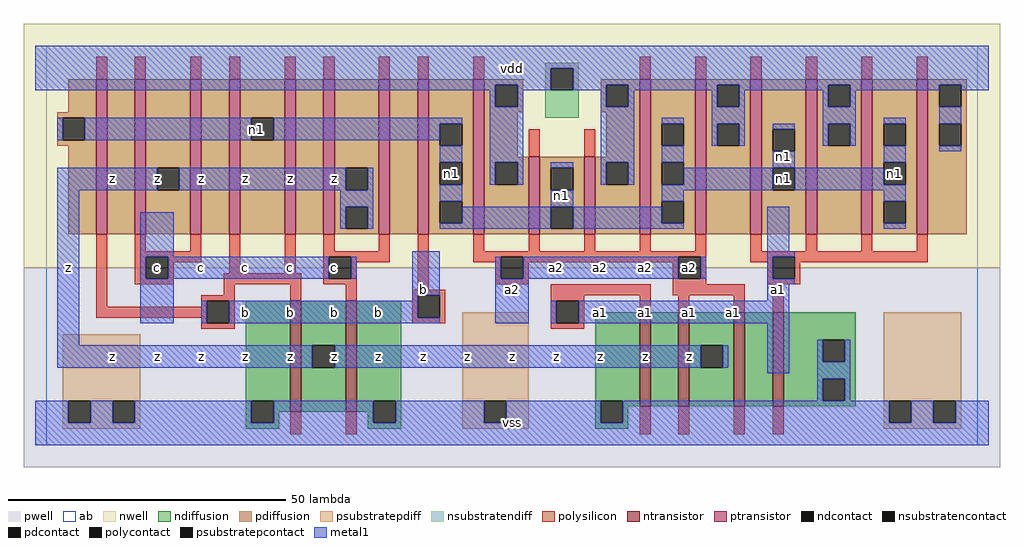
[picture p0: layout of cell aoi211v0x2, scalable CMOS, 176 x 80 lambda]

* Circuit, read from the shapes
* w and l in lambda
.subckt aoi211v0x2 a1 a2 b c n1 vdd vss z
M1 z b vss vss nfet w=20 l=2
M2 vss c z vss nfet w=20 l=2
M3 n2 a1 vss vss nfet w=17 l=2
M4 z a2 n2 vss nfet w=17 l=2
M5 n3 a2 z vss nfet w=17 l=2
M6 vss a1 n3 vss nfet w=17 l=2
M7 n4 b n1 vdd pfet w=28 l=2
M8 z c n4 vdd pfet w=28 l=2
M9 n5 c z vdd pfet w=28 l=2
M10 n1 b n5 vdd pfet w=28 l=2
M11 n6 b n1 vdd pfet w=28 l=2
M12 z c n6 vdd pfet w=28 l=2
M13 n7 c z vdd pfet w=28 l=2
M14 n1 b n7 vdd pfet w=28 l=2
M15 vdd a2 n1 vdd pfet w=28 l=2 m=3
M16 n1 a2 vdd vdd pfet w=14 l=2 m=2
M17 n1 a1 vdd vdd pfet w=28 l=2 m=4
.ends

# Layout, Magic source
magic
tech scmos
<< ab >>
rect 0 0 168 72
<< pwell >>
rect -4 -4 172 32
<< nwell >>
rect -4 32 172 76
<< polysilicon >>
rect 9 66 11 70
rect 16 66 18 70
rect 26 66 28 70
rect 33 66 35 70
rect 43 66 45 70
rect 50 66 52 70
rect 60 66 62 70
rect 67 66 69 70
rect 77 66 79 70
rect 107 66 109 70
rect 117 66 119 70
rect 127 66 129 70
rect 137 66 139 70
rect 147 66 149 70
rect 157 66 159 70
rect 87 52 89 57
rect 97 52 99 57
rect 9 25 11 38
rect 16 35 18 38
rect 26 35 28 38
rect 16 34 28 35
rect 16 30 18 34
rect 22 33 28 34
rect 22 30 23 33
rect 33 31 35 38
rect 43 31 45 38
rect 50 35 52 38
rect 60 35 62 38
rect 50 34 62 35
rect 16 29 23 30
rect 32 29 46 31
rect 50 30 51 34
rect 55 33 62 34
rect 55 30 56 33
rect 50 29 56 30
rect 32 27 34 29
rect 28 26 34 27
rect 44 26 46 29
rect 54 26 56 29
rect 67 28 69 38
rect 77 35 79 38
rect 87 35 89 38
rect 97 35 99 38
rect 107 35 109 38
rect 117 35 119 38
rect 77 34 119 35
rect 77 33 82 34
rect 81 30 82 33
rect 86 33 114 34
rect 86 30 87 33
rect 81 29 87 30
rect 113 30 114 33
rect 118 30 119 34
rect 127 35 129 38
rect 137 35 139 38
rect 147 35 149 38
rect 157 35 159 38
rect 127 34 159 35
rect 127 33 131 34
rect 113 29 119 30
rect 130 30 131 33
rect 135 33 159 34
rect 135 30 136 33
rect 130 29 136 30
rect 66 27 72 28
rect 28 25 29 26
rect 9 23 29 25
rect 28 22 29 23
rect 33 22 34 26
rect 28 21 34 22
rect 66 23 67 27
rect 71 23 72 27
rect 91 27 109 29
rect 113 27 126 29
rect 91 26 97 27
rect 66 22 72 23
rect 44 2 46 6
rect 54 2 56 6
rect 91 22 92 26
rect 96 22 97 26
rect 107 24 109 27
rect 114 24 116 27
rect 124 24 126 27
rect 131 24 133 29
rect 91 21 97 22
rect 107 2 109 7
rect 114 2 116 7
rect 124 2 126 7
rect 131 2 133 7
<< ndiffusion >>
rect 36 8 44 26
rect 36 4 37 8
rect 41 6 44 8
rect 46 18 54 26
rect 46 14 48 18
rect 52 14 54 18
rect 46 6 54 14
rect 56 8 64 26
rect 56 6 59 8
rect 41 4 42 6
rect 36 3 42 4
rect 58 4 59 6
rect 63 4 64 8
rect 58 3 64 4
rect 99 8 107 24
rect 99 4 100 8
rect 104 7 107 8
rect 109 7 114 24
rect 116 18 124 24
rect 116 14 118 18
rect 122 14 124 18
rect 116 7 124 14
rect 126 7 131 24
rect 133 19 146 24
rect 133 15 140 19
rect 144 15 146 19
rect 133 12 146 15
rect 133 8 140 12
rect 144 8 146 12
rect 133 7 146 8
rect 104 4 105 7
rect 99 3 105 4
<< pdiffusion >>
rect 4 60 9 66
rect 2 59 9 60
rect 2 55 3 59
rect 7 55 9 59
rect 2 54 9 55
rect 4 38 9 54
rect 11 38 16 66
rect 18 50 26 66
rect 18 46 20 50
rect 24 46 26 50
rect 18 38 26 46
rect 28 38 33 66
rect 35 59 43 66
rect 35 55 37 59
rect 41 55 43 59
rect 35 38 43 55
rect 45 38 50 66
rect 52 50 60 66
rect 52 46 54 50
rect 58 46 60 50
rect 52 43 60 46
rect 52 39 54 43
rect 58 39 60 43
rect 52 38 60 39
rect 62 38 67 66
rect 69 58 77 66
rect 69 54 71 58
rect 75 54 77 58
rect 69 51 77 54
rect 69 47 71 51
rect 75 47 77 51
rect 69 44 77 47
rect 69 40 71 44
rect 75 40 77 44
rect 69 38 77 40
rect 79 65 86 66
rect 79 61 81 65
rect 85 61 86 65
rect 79 60 86 61
rect 79 52 85 60
rect 100 65 107 66
rect 100 61 101 65
rect 105 61 107 65
rect 100 60 107 61
rect 101 52 107 60
rect 79 51 87 52
rect 79 47 81 51
rect 85 47 87 51
rect 79 38 87 47
rect 89 50 97 52
rect 89 46 91 50
rect 95 46 97 50
rect 89 43 97 46
rect 89 39 91 43
rect 95 39 97 43
rect 89 38 97 39
rect 99 51 107 52
rect 99 47 101 51
rect 105 47 107 51
rect 99 38 107 47
rect 109 58 117 66
rect 109 54 111 58
rect 115 54 117 58
rect 109 51 117 54
rect 109 47 111 51
rect 115 47 117 51
rect 109 44 117 47
rect 109 40 111 44
rect 115 40 117 44
rect 109 38 117 40
rect 119 65 127 66
rect 119 61 121 65
rect 125 61 127 65
rect 119 58 127 61
rect 119 54 121 58
rect 125 54 127 58
rect 119 38 127 54
rect 129 57 137 66
rect 129 53 131 57
rect 135 53 137 57
rect 129 50 137 53
rect 129 46 131 50
rect 135 46 137 50
rect 129 38 137 46
rect 139 65 147 66
rect 139 61 141 65
rect 145 61 147 65
rect 139 58 147 61
rect 139 54 141 58
rect 145 54 147 58
rect 139 38 147 54
rect 149 58 157 66
rect 149 54 151 58
rect 155 54 157 58
rect 149 51 157 54
rect 149 47 151 51
rect 155 47 157 51
rect 149 44 157 47
rect 149 40 151 44
rect 155 40 157 44
rect 149 38 157 40
rect 159 65 166 66
rect 159 61 161 65
rect 165 61 166 65
rect 159 58 166 61
rect 159 54 161 58
rect 165 54 166 58
rect 159 38 166 54
<< metal1 >>
rect -2 68 170 72
rect -2 65 91 68
rect -2 64 81 65
rect 80 61 81 64
rect 85 64 91 65
rect 95 65 170 68
rect 95 64 101 65
rect 85 61 86 64
rect 2 55 3 59
rect 7 55 37 59
rect 41 58 75 59
rect 41 55 71 58
rect 71 51 75 54
rect 2 46 20 50
rect 24 46 54 50
rect 58 46 59 50
rect 2 18 6 46
rect 53 43 59 46
rect 17 34 23 42
rect 53 39 54 43
rect 58 39 59 43
rect 80 51 86 61
rect 100 61 101 64
rect 105 64 121 65
rect 105 61 106 64
rect 100 51 106 61
rect 120 61 121 64
rect 125 64 141 65
rect 125 61 126 64
rect 80 47 81 51
rect 85 47 86 51
rect 91 50 95 51
rect 71 44 75 47
rect 100 47 101 51
rect 105 47 106 51
rect 111 58 115 59
rect 120 58 126 61
rect 140 61 141 64
rect 145 64 161 65
rect 145 61 146 64
rect 140 58 146 61
rect 165 64 170 65
rect 120 54 121 58
rect 125 54 126 58
rect 131 57 135 58
rect 111 51 115 54
rect 140 54 141 58
rect 145 54 146 58
rect 151 58 155 59
rect 131 50 135 53
rect 151 51 155 54
rect 161 58 165 61
rect 161 53 165 54
rect 115 47 131 50
rect 91 43 95 46
rect 111 46 131 47
rect 135 47 151 50
rect 135 46 155 47
rect 111 44 115 46
rect 75 40 91 43
rect 71 39 91 40
rect 95 40 111 43
rect 151 44 155 46
rect 95 39 115 40
rect 130 35 134 43
rect 151 39 155 40
rect 17 30 18 34
rect 22 30 51 34
rect 55 30 56 34
rect 17 22 23 30
rect 66 27 71 35
rect 130 34 135 35
rect 66 26 67 27
rect 28 22 29 26
rect 33 23 67 26
rect 33 22 71 23
rect 81 30 82 34
rect 86 30 114 34
rect 118 30 119 34
rect 130 30 131 34
rect 81 22 87 30
rect 130 29 135 30
rect 130 26 134 29
rect 91 22 92 26
rect 96 22 134 26
rect 2 14 48 18
rect 52 14 118 18
rect 122 14 123 18
rect 130 13 134 22
rect 139 15 140 19
rect 144 15 145 19
rect 139 12 145 15
rect 139 8 140 12
rect 144 8 145 12
rect -2 4 4 8
rect 8 4 12 8
rect 16 4 37 8
rect 41 4 59 8
rect 63 4 79 8
rect 83 4 100 8
rect 104 4 152 8
rect 156 4 160 8
rect 164 4 170 8
rect -2 0 170 4
<< ntransistor >>
rect 44 6 46 26
rect 54 6 56 26
rect 107 7 109 24
rect 114 7 116 24
rect 124 7 126 24
rect 131 7 133 24
<< ptransistor >>
rect 9 38 11 66
rect 16 38 18 66
rect 26 38 28 66
rect 33 38 35 66
rect 43 38 45 66
rect 50 38 52 66
rect 60 38 62 66
rect 67 38 69 66
rect 77 38 79 66
rect 87 38 89 52
rect 97 38 99 52
rect 107 38 109 66
rect 117 38 119 66
rect 127 38 129 66
rect 137 38 139 66
rect 147 38 149 66
rect 157 38 159 66
<< polycontact >>
rect 18 30 22 34
rect 51 30 55 34
rect 82 30 86 34
rect 114 30 118 34
rect 131 30 135 34
rect 29 22 33 26
rect 67 23 71 27
rect 92 22 96 26
<< ndcontact >>
rect 37 4 41 8
rect 48 14 52 18
rect 59 4 63 8
rect 100 4 104 8
rect 118 14 122 18
rect 140 15 144 19
rect 140 8 144 12
<< pdcontact >>
rect 3 55 7 59
rect 20 46 24 50
rect 37 55 41 59
rect 54 46 58 50
rect 54 39 58 43
rect 71 54 75 58
rect 71 47 75 51
rect 71 40 75 44
rect 81 61 85 65
rect 101 61 105 65
rect 81 47 85 51
rect 91 46 95 50
rect 91 39 95 43
rect 101 47 105 51
rect 111 54 115 58
rect 111 47 115 51
rect 111 40 115 44
rect 121 61 125 65
rect 121 54 125 58
rect 131 53 135 57
rect 131 46 135 50
rect 141 61 145 65
rect 141 54 145 58
rect 151 54 155 58
rect 151 47 155 51
rect 151 40 155 44
rect 161 61 165 65
rect 161 54 165 58
<< psubstratepcontact >>
rect 4 4 8 8
rect 12 4 16 8
rect 79 4 83 8
rect 152 4 156 8
rect 160 4 164 8
<< nsubstratencontact >>
rect 91 64 95 68
<< psubstratepdiff >>
rect 3 8 17 20
rect 3 4 4 8
rect 8 4 12 8
rect 16 4 17 8
rect 3 3 17 4
rect 75 8 87 24
rect 75 4 79 8
rect 83 4 87 8
rect 75 3 87 4
rect 151 8 165 24
rect 151 4 152 8
rect 156 4 160 8
rect 164 4 165 8
rect 151 3 165 4
<< nsubstratendiff >>
rect 90 68 96 69
rect 90 64 91 68
rect 95 64 96 68
rect 90 59 96 64
<< labels >>
rlabel metal1 28 16 28 16 6 z
rlabel metal1 20 16 20 16 6 z
rlabel metal1 12 16 12 16 6 z
rlabel metal1 4 32 4 32 6 z
rlabel metal1 28 32 28 32 6 c
rlabel polycontact 20 32 20 32 6 c
rlabel metal1 28 48 28 48 6 z
rlabel metal1 20 48 20 48 6 z
rlabel metal1 12 48 12 48 6 z
rlabel metal1 60 16 60 16 6 z
rlabel metal1 52 16 52 16 6 z
rlabel metal1 44 16 44 16 6 z
rlabel metal1 36 16 36 16 6 z
rlabel metal1 60 24 60 24 6 b
rlabel metal1 52 24 52 24 6 b
rlabel metal1 44 24 44 24 6 b
rlabel metal1 36 24 36 24 6 b
rlabel polycontact 52 32 52 32 6 c
rlabel metal1 44 32 44 32 6 c
rlabel metal1 36 32 36 32 6 c
rlabel metal1 52 48 52 48 6 z
rlabel metal1 44 48 44 48 6 z
rlabel metal1 36 48 36 48 6 z
rlabel metal1 84 4 84 4 6 vss
rlabel metal1 92 16 92 16 6 z
rlabel metal1 84 16 84 16 6 z
rlabel metal1 76 16 76 16 6 z
rlabel metal1 68 16 68 16 6 z
rlabel metal1 92 32 92 32 6 a2
rlabel metal1 84 28 84 28 6 a2
rlabel metal1 68 28 68 28 6 b
rlabel metal1 93 45 93 45 6 n1
rlabel pdcontact 38 57 38 57 6 n1
rlabel pdcontact 73 49 73 49 6 n1
rlabel metal1 84 68 84 68 6 vdd
rlabel metal1 116 16 116 16 6 z
rlabel metal1 108 16 108 16 6 z
rlabel metal1 100 16 100 16 6 z
rlabel metal1 100 24 100 24 6 a1
rlabel metal1 124 24 124 24 6 a1
rlabel metal1 116 24 116 24 6 a1
rlabel metal1 108 24 108 24 6 a1
rlabel polycontact 116 32 116 32 6 a2
rlabel metal1 108 32 108 32 6 a2
rlabel metal1 132 28 132 28 6 a1
rlabel metal1 100 32 100 32 6 a2
rlabel pdcontact 133 48 133 48 6 n1
rlabel metal1 133 52 133 52 6 n1
rlabel pdcontact 153 49 153 49 6 n1
<< end >>
